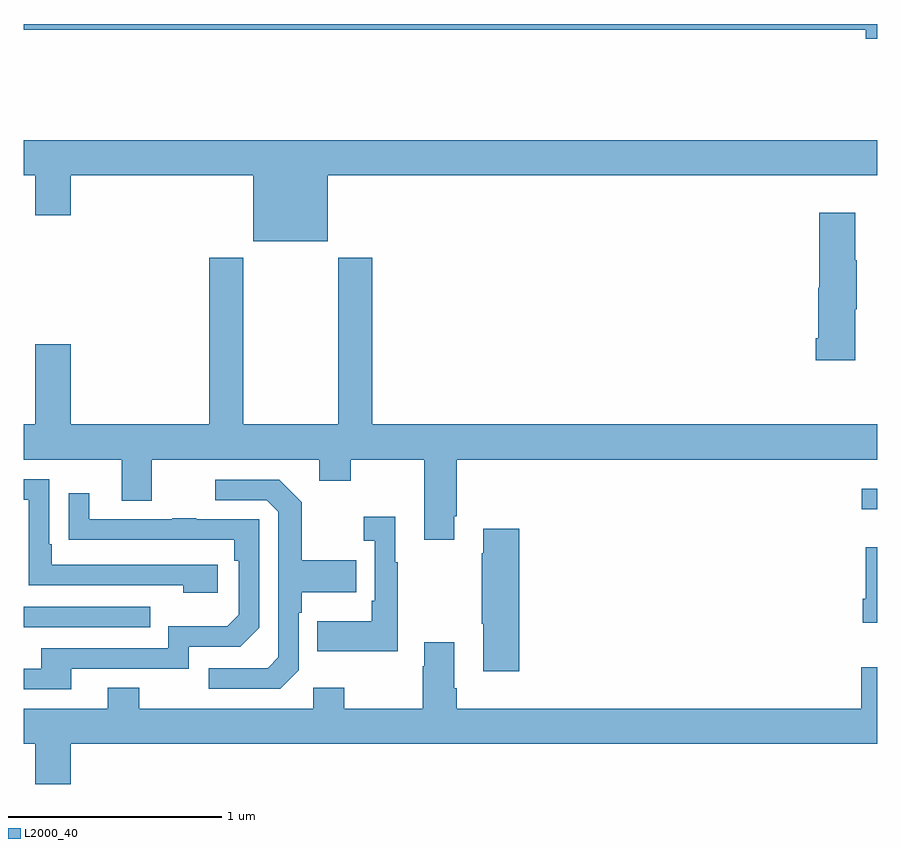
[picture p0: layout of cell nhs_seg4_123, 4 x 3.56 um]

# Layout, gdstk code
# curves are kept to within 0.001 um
import gdstk
lib = gdstk.Library(unit=1e-6, precision=1e-09)
def R(c, l, rs):  # rectangles x0, y0, x1, y1
    for r in rs: c.add(gdstk.rectangle(r[:2], r[2:], *l))
def P(c, l, *ps):  # polygons
    for p in ps: c.add(gdstk.Polygon(p, *l))
L2000_40 = (2000, 40)

nhs_seg4_123 = lib.new_cell('nhs_seg4_123')
R(nhs_seg4_123, L2000_40, [(117,756.075,117.593,756.171), (120.927,756.627,121,756.724)])
P(nhs_seg4_123, L2000_40, [(121,758.9),(117,758.9),(117,758.872),(120.944,758.872),(120.944,758.83),(121,758.83)],
  [(118.426,758.192),(121,758.192),(121,758.356),(117,758.356),(117,758.192),(117.056,758.192),(117.056,758.004),(117.22,758.004),(117.22,758.192),(118.076,758.192),(118.076,757.883),(118.426,757.883)],
  [(120.895,757.565),(120.903,757.565),(120.903,757.793),(120.895,757.793),(120.895,758.017),(120.728,758.017),(120.728,757.665),(120.722,757.665),(120.722,757.429),(120.71,757.429),(120.71,757.325),(120.895,757.325)],
  [(119.017,756.595),(119.03,756.595),(119.03,756.86),(121,756.86),(121,757.024),(118.634,757.024),(118.634,757.804),(118.474,757.804),(118.474,757.024),(118.029,757.024),(118.029,757.804),(117.869,757.804),(117.869,757.024),(117.22,757.024),(117.22,757.399),(117.056,757.399),(117.056,757.024),(117,757.024),(117,756.86),(117.461,756.86),(117.461,756.666),(117.601,756.666),(117.601,756.86),(118.385,756.86),(118.385,756.761),(118.533,756.761),(118.533,756.86),(118.877,756.86),(118.877,756.483),(119.017,756.483)],
  [(117.91,756.366),(117.133,756.366),(117.133,756.463),(117.12,756.463),(117.12,756.768),(117,756.768),(117,756.672),(117.024,756.672),(117.024,756.27),(117.749,756.27),(117.749,756.236),(117.91,756.236)],
  [(118.29,755.874),(118.29,756.143),(118.303,756.143),(118.303,756.239),(118.559,756.239),(118.559,756.387),(118.303,756.387),(118.303,756.659),(118.197,756.765),(117.897,756.765),(117.897,756.669),(118.14,756.669),(118.194,756.615),(118.194,755.934),(118.143,755.883),(117.867,755.883),(117.867,755.787),(118.203,755.787)],
  [(117.223,755.88),(117.774,755.88),(117.774,755.982),(118.014,755.982),(118.104,756.072),(118.104,756.579),(117.809,756.579),(117.809,756.584),(117.697,756.584),(117.697,756.579),(117.307,756.579),(117.307,756.703),(117.211,756.703),(117.211,756.484),(117.988,756.483),(117.988,756.386),(118.008,756.386),(118.008,756.132),(117.955,756.079),(117.678,756.079),(117.678,755.976),(117.083,755.976),(117.083,755.88),(117,755.88),(117,755.784),(117.223,755.784)],
  [(118.753,756.379),(118.741,756.379),(118.741,756.592),(118.593,756.592),(118.593,756.479),(118.644,756.479),(118.644,756.199),(118.632,756.199),(118.632,756.103),(118.375,756.103),(118.375,755.963),(118.753,755.963)],
  [(119.321,756.535),(119.153,756.535),(119.153,756.422),(119.146,756.422),(119.146,756.091),(119.153,756.091),(119.153,755.868),(119.321,755.868)],
  [(121,756.448),(120.944,756.448),(120.944,756.208),(120.932,756.208),(120.932,756.096),(121,756.096)],
  [(117.22,755.528),(121,755.528),(121,755.887),(120.923,755.887),(120.923,755.692),(119.03,755.692),(119.03,755.788),(119.017,755.788),(119.017,756.004),(118.877,756.004),(118.877,755.891),(118.87,755.891),(118.87,755.692),(118.503,755.692),(118.503,755.791),(118.356,755.791),(118.356,755.692),(117.543,755.692),(117.543,755.791),(117.395,755.791),(117.395,755.692),(117,755.692),(117,755.528),(117.056,755.528),(117.056,755.34),(117.22,755.34)])

lib.write_gds('nhs_seg4_123.gds')
